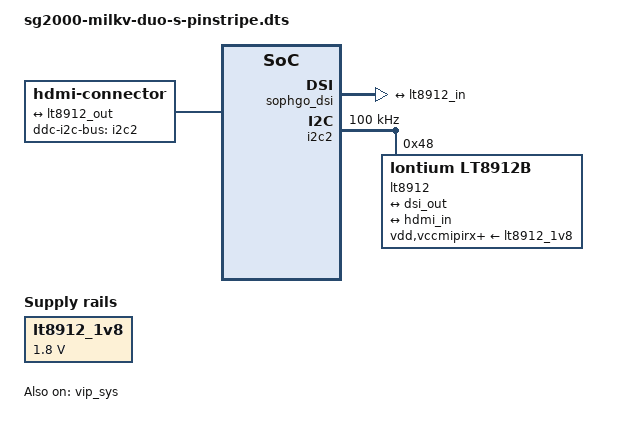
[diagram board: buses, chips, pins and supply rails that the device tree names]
// SPDX-License-Identifier: (GPL-2.0 OR MIT)
#include "sg2000-milkv-duo-s-riscv.dts"

/* Opt-in manual display graph. Ordinary public board configurations omit it.
 * IIC2 uses SG2000 BGA J13/J14, function 0, fixed 1.8 V and 10k pull-ups.
 * See drivers/pinctrl/sophgo/pinctrl-sg2000.c; no bias/drive override.
 */
#define DUOS_IIC2_SCL PINPOS('J', 13)
#define DUOS_IIC2_SDA PINPOS('J', 14)
/ { aliases { i2c2 = &i2c2; }; };
&pinctrl {
	iic2_cfg: iic2-cfg {
		iic2-scl-pins {
			pinmux = <PINMUX(DUOS_IIC2_SCL, 0)>;
			power-source = <1800>;
		};
		iic2-sda-pins {
			pinmux = <PINMUX(DUOS_IIC2_SDA, 0)>;
			power-source = <1800>;
		};
	};
};

/* osdrv aa542c41 interdrv/vpss/chip/cv181x/vpss_core.c:_init_resources,
 * interdrv/base/base.c:base_probe and scaler_reg.h define these windows.
 * Keep register-interface clock 128 on both the syscon and DSI host.
 */
/ {
	soc {
		vip_sys: syscon@a0c8000 {
			compatible = "sophgo,sg2000-vip-sys", "syscon";
			reg = <0x0a0c8000 0x1000>;
			/* Linux 7.2.2 clk-cv1800.c:clk_cfg_reg_vip gates the
			 * register interface separately from the AXI VIP children.
			 * mfd/syscon.c attaches this clock to regmap-mmio, which
			 * enables it around every access. A VIP read stalls without this
			 * dependency; no reset is implied.
			 */
			clocks = <&clk CLK_CFG_REG_VIP>;
			status = "okay";
		};

		sophgo_dsi: dsi@a080000 {
			compatible = "sophgo,sg2000-dsi";
			reg = <0x0a080000 0x1000>,
			      <0x0a088000 0x1000>,
			      <0x0a08a000 0x1000>,
			      <0x0a0d1000 0x1000>;
			reg-names = "sc_top", "disp", "dsi_mac", "dphy";
			sophgo,vip-sys = <&vip_sys>;
			clocks = <&clk CLK_SC_TOP_VIP>,
				 <&clk CLK_DISP_VIP>, <&clk CLK_DSI_MAC_VIP>,
				 <&clk CLK_DSI_ESC>, <&clk CLK_DISPPLL>,
				 <&clk CLK_DISP_SRC_VIP>, <&clk CLK_DSI_SYNTH_SRC>,
				 <&clk CLK_AXI6>, <&clk CLK_CFG_REG_VIP>;
			clock-names = "sc_top", "clk_disp", "clk_dsi", "dsi_esc",
				      "disppll", "disp_src", "dsi_src", "esc_parent", "cfg_reg";
			status = "okay";

			port {
			};
		};
	};
};

/* NixVegas/pcb d97cfc1d2f50a0447eaf80c7d025e58900b8f5e6,
 * kicad/hdmi.kicad_sch and nixos.kicad_pcb: U16 RESET_N pin 64 has
 * R77 10k to LT8912_VDD + C47 100n to GND, with no CPU reset GPIO.
 * PWR_GPIO2 is the USER button. +1V8 feeds L4->VDD (18/33/57),
 * L3->VCCA (5/26/41/50/52), L2->VCCA_HDMIPLL (34), without enable GPIOs.
 */
/ {
	lt8912_1v8: regulator-lt8912-1v8 {
		compatible = "regulator-fixed";
		regulator-name = "lt8912-board-1v8";
		regulator-min-microvolt = <1800000>;
		regulator-max-microvolt = <1800000>;
		regulator-always-on;
	};
};

&sophgo_dsi {
	sophgo,manual-pinstripe;
	/* Vendor dsi_phy.c:dphy_dsi_set_lane: 0=clock, 1..4=data0..3.
	 * Pad roles are physical; data-lanes below are logical DRM indices.
	 */
	sophgo,pad-roles = <1 2 0 3 4>;
	sophgo,pn-swap-mask = <0>;
	sophgo,clock-phase = <1>; /* vendor boolean: 90 degrees */
	port {
		dsi_out: endpoint {
			data-lanes = <0 1 2 3>;
			remote-endpoint = <&lt8912_in>;
		};
	};
};

&i2c2 {
	status = "okay";
	clock-frequency = <100000>;
	pinctrl-0 = <&iic2_cfg>;
	pinctrl-names = "default";
	lt8912: bridge@48 {
		compatible = "lontium,lt8912b";
		reg = <0x48>;
		status = "okay";
		lontium,rc-reset;
		vdd-supply = <&lt8912_1v8>;
		vccmipirx-supply = <&lt8912_1v8>;
		vccsysclk-supply = <&lt8912_1v8>;
		vcclvdstx-supply = <&lt8912_1v8>;
		vcchdmitx-supply = <&lt8912_1v8>;
		vcclvdspll-supply = <&lt8912_1v8>;
		vcchdmipll-supply = <&lt8912_1v8>;
		ports {
			#address-cells = <1>;
			#size-cells = <0>;
			port@0 {
				reg = <0>;
				lt8912_in: endpoint {
					data-lanes = <0 1 2 3>;
					remote-endpoint = <&dsi_out>;
				};
			};
			port@1 {
				reg = <1>;
				lt8912_out: endpoint {
					remote-endpoint = <&hdmi_in>;
				};
			};
		};
	};
};
/ {
	hdmi: hdmi-connector {
		compatible = "hdmi-connector";
		type = "a";
		status = "okay";
		/* U1 39/40 and U16 61/62 share I2C_SENSOR1_SDA/SCL;
		 * FET1/FET2 translate to HDMI1 16/15. U16 receives HPD
		 * through Q12; there is no CPU HPD GPIO.
		 */
		ddc-i2c-bus = <&i2c2>;
		port {
			hdmi_in: endpoint {
				remote-endpoint = <&lt8912_out>;
			};
		};
	};
};
